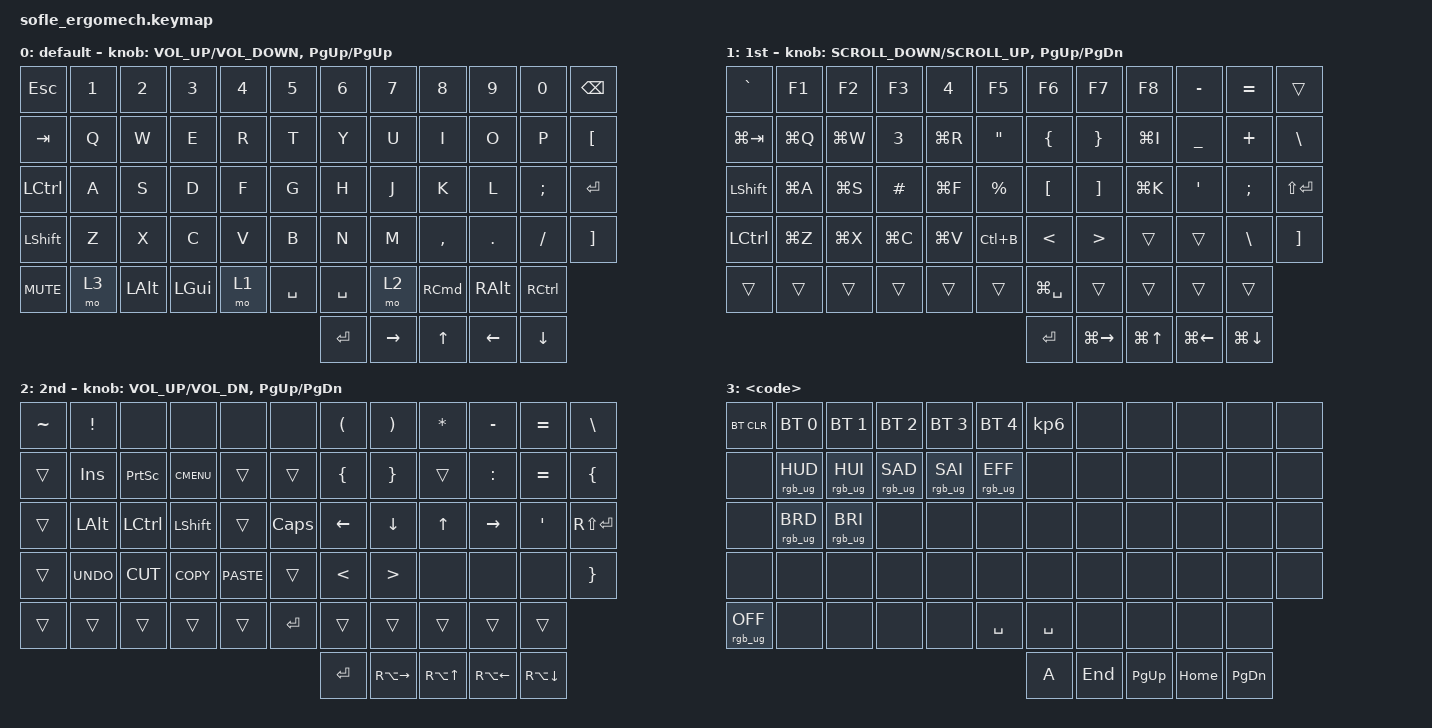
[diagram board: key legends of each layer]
/*
 * Copyright (c) 2020 The ZMK Contributors
 *
 * SPDX-License-Identifier: MIT
 */

#include <behaviors.dtsi>
#include <dt-bindings/zmk/bt.h>
#include <dt-bindings/zmk/keys.h>
#include <dt-bindings/zmk/rgb.h>

#define BASE 0
#define LOWER 1
#define RAISE 2
#define ADJUST 3

/ {
    // Activate ADJUST layer by pressing raise and lower

    conditional_layers { compatible = "zmk,conditional-layers"; };

    keymap {
        compatible = "zmk,keymap";

        default_layer {
            label = "default";

            // ------------------------------------------------------------------------------------------------------------
            // |   `   |  1  |  2  |  3   |  4   |  5   |                   |  6   |  7    |  8    |  9   |   0   |       |
            // |  ESC  |  Q  |  W  |  E   |  R   |  T   |                   |  Y   |  U    |  I    |  O   |   P   | BKSPC |
            // |  TAB  |  A  |  S  |  D   |  F   |  G   |                   |  H   |  J    |  K    |  L   |   ;   |   '   |
            // | SHIFT |  Z  |  X  |  C   |  V   |  B   |  MUTE  |  |       |  N   |  M    |  ,    |  .   |   /   | SHIFT |
            //               | GUI | ALT  | CTRL | LOWER|  ENTER |  | SPACE | RAISE| CTRL  | ALT   | GUI  |

            bindings = <
&kp ESC     &kp N1  &kp N2    &kp N3    &kp N4  &kp N5     &kp N6     &kp N7     &kp N8        &kp N9         &kp N0     &kp BSPC
&kp TAB     &kp Q   &kp W     &kp E     &kp R   &kp T      &kp Y      &kp U      &kp I         &kp O          &kp P      &kp LEFT_BRACKET
&kp LCTRL   &kp A   &kp S     &kp D     &kp F   &kp G      &kp H      &kp J      &kp K         &kp L          &kp SEMI   &kp ENTER
&kp LSHFT   &kp Z   &kp X     &kp C     &kp V   &kp B      &kp N      &kp M      &kp COMMA     &kp DOT        &kp FSLH   &kp RBKT
&kp C_MUTE  &mo 3   &kp LALT  &kp LGUI  &mo 1   &kp SPACE  &kp SPACE  &mo 2      &kp RCMD      &kp RIGHT_ALT  &kp RCTRL
                                                           &kp ENTER  &kp RIGHT  &kp UP_ARROW  &kp LEFT       &kp DOWN
            >;

            sensor-bindings =
                <&inc_dec_kp C_VOLUME_UP C_VOLUME_DOWN>,
                <&inc_dec_kp PG_UP PG_UP>;
        };

        first_layer {
            label = "1st";

            // TODO: Some binds are waiting for shifted keycode support.
            // ------------------------------------------------------------------------------------------------------------
            // |       |  F1 |  F2 |  F3  |  F4  |  F5  |                   |  F6  |  F7   |  F8   |  F9  |  F10  |  F11  |
            // |   `   |  1  |  2  |  3   |  4   |  5   |                   |  6   |  7    |  8    |  9   |   0   |  F12  |
            // |       |  !  |  @  |  #   |  $   |  %   |                   |  ^   |  &    |  *    |  (   |   )   |   |   |
            // |       |  =  |  -  |  +   |  {   |  }   |        |  |       |  [   |  ]    |  ;    |  :   |   \   |       |
            //               |     |      |      |      |        |  |       |      |       |       |      |

            bindings = <
&kp GRAVE    &kp F1     &kp F2     &kp F3     &kp NUMBER_4  &kp F5             &kp F6            &kp F7               &kp F8            &kp MINUS           &kp EQUAL           &trans
&kp LG(TAB)  &kp LG(Q)  &kp LG(W)  &kp N3     &kp LG(R)     &kp DOUBLE_QUOTES  &kp LEFT_BRACE    &kp RIGHT_BRACE      &kp LG(I)         &kp UNDERSCORE      &kp PLUS            &kp BACKSLASH
&kp LSHFT    &kp LG(A)  &kp LG(S)  &kp HASH   &kp LG(F)     &kp PRCNT          &kp LEFT_BRACKET  &kp RIGHT_BRACKET    &kp LG(K)         &kp SQT             &kp SEMI            &kp LS(ENTER)
&kp LCTRL    &kp LG(Z)  &kp LG(X)  &kp LG(C)  &kp LG(V)     &kp LC(B)          &kp LESS_THAN     &kp GREATER_THAN     &trans            &trans              &kp BSLH            &kp RIGHT_BRACKET
&trans       &trans     &trans     &trans     &trans        &trans             &kp LG(SPACE)     &trans               &trans            &trans              &trans
                                                                               &kp ENTER         &kp LG(RIGHT_ARROW)  &kp LG(UP_ARROW)  &kp LG(LEFT_ARROW)  &kp LG(DOWN_ARROW)
            >;

            sensor-bindings =
                <&inc_dec_kp K_SCROLL_DOWN K_SCROLL_UP>,
                <&inc_dec_kp PG_UP PG_DN>;
        };

        second_layer {
            label = "2nd";

            // ------------------------------------------------------------------------------------------------------------
            // | BTCLR | BT1  | BT2  |  BT3  |  BT4  |  BT5 |                |      |      |       |      |       |       |
            // |       | INS  | PSCR | GUI   |       |      |                | PGUP |      |   ^   |      |       |       |
            // |       | ALT  | CTRL | SHIFT |       | CAPS |                | PGDN |   <- |   v   |  ->  |  DEL  | BKSPC |
            // |       | UNDO | CUT  | COPY  | PASTE |      |      |  |      |      |      |       |      |       |       |
            //                |      |       |       |      |      |  |      |      |      |       |      |

            bindings = <
&kp TILDE  &kp EXCLAMATION  &none      &none        &none        &none      &kp LEFT_PARENTHESIS  &kp RIGHT_PARENTHESIS  &kp ASTERISK      &kp MINUS           &kp EQUAL           &kp BACKSLASH
&trans     &kp INS          &kp PSCRN  &kp K_CMENU  &trans       &trans     &kp LEFT_BRACE        &kp RIGHT_BRACE        &trans            &kp COLON           &kp EQUAL           &kp LEFT_BRACE
&trans     &kp LALT         &kp LCTRL  &kp LSHFT    &trans       &kp CLCK   &kp LEFT_ARROW        &kp DOWN_ARROW         &kp UP_ARROW      &kp RIGHT_ARROW     &kp SINGLE_QUOTE    &kp RS(RETURN)
&trans     &kp K_UNDO       &kp K_CUT  &kp K_COPY   &kp K_PASTE  &trans     &kp LESS_THAN         &kp GREATER_THAN       &none             &none               &none               &kp RIGHT_BRACE
&trans     &trans           &trans     &trans       &trans       &kp ENTER  &trans                &trans                 &trans            &trans              &trans
                                                                            &kp ENTER             &kp RA(RIGHT_ARROW)    &kp RA(UP_ARROW)  &kp RA(LEFT_ARROW)  &kp RA(DOWN_ARROW)
            >;

            sensor-bindings = <&inc_dec_kp C_VOL_UP C_VOL_DN &inc_dec_kp PG_UP PG_DN>;
        };

        code_layer {
            // ----------------------------------------------------------------------------------------------------------------------------
            // | BTCLR  |  BT1    |  BT2    |   BT3   |   BT4   |   BT5   |                  |      |      |       |      |       |       |
            // | EXTPWR | RGB_HUD | RGB_HUI | RGB_SAD | RGB_SAI | RGB_EFF |                  |      |      |       |      |       |       |
            // |        | RGB_BRD | RGB_BRI |         |         |         |                  |      |      |       |      |       |       |
            // |        |         |         |         |         |         | RGB_TOG | |      |      |      |       |      |       |       |
            //                    |         |         |         |         |         | |      |      |      |       |      |

            label = "<code>";
            bindings = <
&bt BT_CLR       &bt BT_SEL 0     &bt BT_SEL 1     &bt BT_SEL 2     &bt BT_SEL 3     &bt BT_SEL 4     &kp KP_NUMBER_6  &none    &none      &none     &none      &none
&none            &rgb_ug RGB_HUD  &rgb_ug RGB_HUI  &rgb_ug RGB_SAD  &rgb_ug RGB_SAI  &rgb_ug RGB_EFF  &none            &none    &none      &none     &none      &none
&none            &rgb_ug RGB_BRD  &rgb_ug RGB_BRI  &none            &none            &none            &none            &none    &none      &none     &none      &none
&none            &none            &none            &none            &none            &none            &none            &none    &none      &none     &none      &none
&rgb_ug RGB_OFF  &none            &none            &none            &none            &kp SPACE        &kp SPACE        &none    &none      &none     &none
                                                                                                      &kp A            &kp END  &kp PG_UP  &kp HOME  &kp PG_DN
            >;
        };
    };
};
